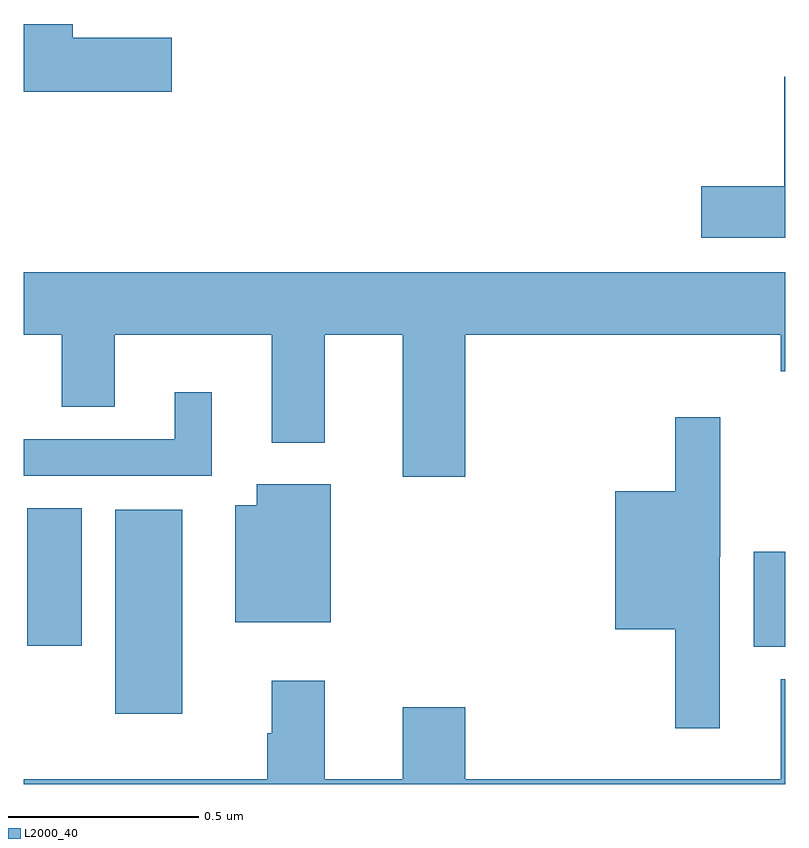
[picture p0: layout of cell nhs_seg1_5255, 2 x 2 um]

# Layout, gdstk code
import gdstk
lib = gdstk.Library(unit=1e-6, precision=1e-09)
def R(c, l, rs):  # rectangles x0, y0, x1, y1
    for r in rs: c.add(gdstk.rectangle(r[:2], r[2:], *l))
def P(c, l, *ps):  # polygons
    for p in ps: c.add(gdstk.Polygon(p, *l))
L2000_40 = (2000, 40)

nhs_seg1_5255 = lib.new_cell('nhs_seg1_5255')
R(nhs_seg1_5255, L2000_40, [(176.24,569.384,176.416,569.92), (177.918,569.559,178,569.809), (176.009,569.562,176.152,569.924)])
P(nhs_seg1_5255, L2000_40, [(176.389,571.16),(176.128,571.16),(176.128,571.196),(176,571.196),(176,571.018),(176.389,571.018)],
  [(178,571.057),(177.998,571.057),(177.998,570.77),(177.78,570.77),(177.78,570.635),(178,570.635)],
  [(177.16,570.38),(177.988,570.38),(177.988,570.284),(178,570.284),(178,570.544),(176,570.544),(176,570.38),(176.099,570.38),(176.099,570.19),(176.239,570.19),(176.239,570.38),(176.651,570.38),(176.651,570.096),(176.791,570.096),(176.791,570.38),(176.996,570.38),(176.996,570.006),(177.16,570.006)],
  [(176.494,570.229),(176.396,570.229),(176.396,570.105),(176,570.105),(176,570.009),(176.494,570.009)],
  [(177.828,569.796),(177.83,569.796),(177.83,570.163),(177.712,570.163),(177.712,569.968),(177.554,569.968),(177.554,569.606),(177.712,569.606),(177.712,569.346),(177.828,569.346)],
  [(176.806,569.986),(176.612,569.986),(176.612,569.932),(176.555,569.932),(176.555,569.624),(176.806,569.624)],
  [(178,569.474),(177.989,569.474),(177.989,569.212),(177.16,569.212),(177.16,569.401),(176.996,569.401),(176.996,569.212),(176.791,569.212),(176.791,569.47),(176.651,569.47),(176.651,569.333),(176.639,569.333),(176.639,569.212),(176,569.212),(176,569.199),(178,569.199)])

lib.write_gds('nhs_seg1_5255.gds')
